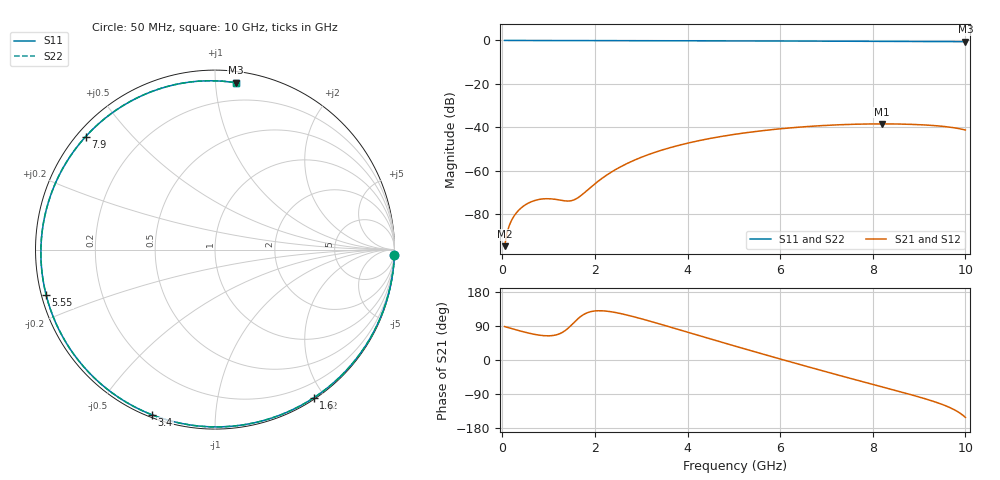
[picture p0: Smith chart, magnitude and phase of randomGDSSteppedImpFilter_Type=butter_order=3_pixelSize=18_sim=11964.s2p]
! freq	dB(S11)	phase(S11)	dB(S12)	phase(S12)
!  dB(S21)	phase(S21)	dB(S22)	phase(S22)
!S-par simulation data
#  GHz  S  DB  R 50
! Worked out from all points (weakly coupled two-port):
!   200 points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, 50 MHz to 10 GHz, reference 50 ohm
!   highest |S21| = -38.41 dB at 8.2 GHz (marker M1); lowest = -94.7 dB at 50 MHz (marker M2)
!   lowest |S11| = -0.6 dB at 10 GHz (marker M3), VSWR 30.60, Z = 3.72 + j56.4 ohm
!   |S11| at or under -10 dB: nowhere
!   |S22| runs from -0.6 to 0.0 dB; largest |S21 - S12| = 0
!   S11 on the Smith chart (normalised r, x): 50 MHz: 0, -62; 1.6 GHz: 0.02, -1.87; 3.4 GHz: 0.01, -0.69; 5.55 GHz: 0.01, -0.13; 7.9 GHz: 0.03, +0.38; 10 GHz: 0.07, +1.13
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0.05  -0.00 -1.8  -94.70 88.2  -94.70 88.2  -0.00 -1.8
0.25  -0.01 -9.1  -80.94 81.2  -80.94 81.2  -0.01 -9.1
0.5  -0.03 -18.1  -75.63 73.0  -75.63 73.0  -0.03 -18.1
0.75  -0.03 -27.1  -73.39 66.5  -73.39 66.5  -0.03 -27.1
1  -0.04 -35.9  -72.85 63.8  -72.85 63.8  -0.04 -35.9
1.45  -0.06 -51.4  -73.89 87.1  -73.89 87.1  -0.06 -51.4
1.6  -0.07 -56.4  -72.85 105.2  -72.85 105.2  -0.07 -56.4
1.75  -0.07 -61.3  -70.52 119.5  -70.52 119.5  -0.07 -61.3
2.15  -0.09 -74.2  -63.52 129.9  -63.52 129.9  -0.09 -74.2
2.5  -0.10 -84.9  -58.79 124.0  -58.79 124.0  -0.10 -84.9
2.9  -0.11 -96.8  -54.67 112.2  -54.67 112.2  -0.11 -96.8
3.4  -0.13 -110.8  -50.78 95.0  -50.78 95.0  -0.13 -110.8
4.25  -0.16 -133.3  -46.11 64.4  -46.11 64.4  -0.16 -133.3
5.05  -0.20 -153.1  -43.11 35.8  -43.11 35.8  -0.20 -153.1
5.55  -0.23 -165.0  -41.70 18.2  -41.70 18.2  -0.23 -165.0
6.7  -0.30 167.8  -39.46 -21.2  -39.46 -21.2  -0.30 167.8
7.3  -0.34 153.5  -38.79 -41.4  -38.79 -41.4  -0.34 153.5
7.9  -0.38 138.9  -38.45 -61.2  -38.45 -61.2  -0.38 138.8
8.2  -0.40 131.4  -38.41 -70.9  -38.41 -70.9  -0.40 131.3
8.35  -0.41 127.6  -38.42 -75.8  -38.42 -75.8  -0.41 127.5
9.2  -0.48 105.3  -39.00 -104.9  -39.00 -104.9  -0.48 105.2
10  -0.57 83.0  -41.23 -151.4  -41.23 -151.4  -0.57 82.9
